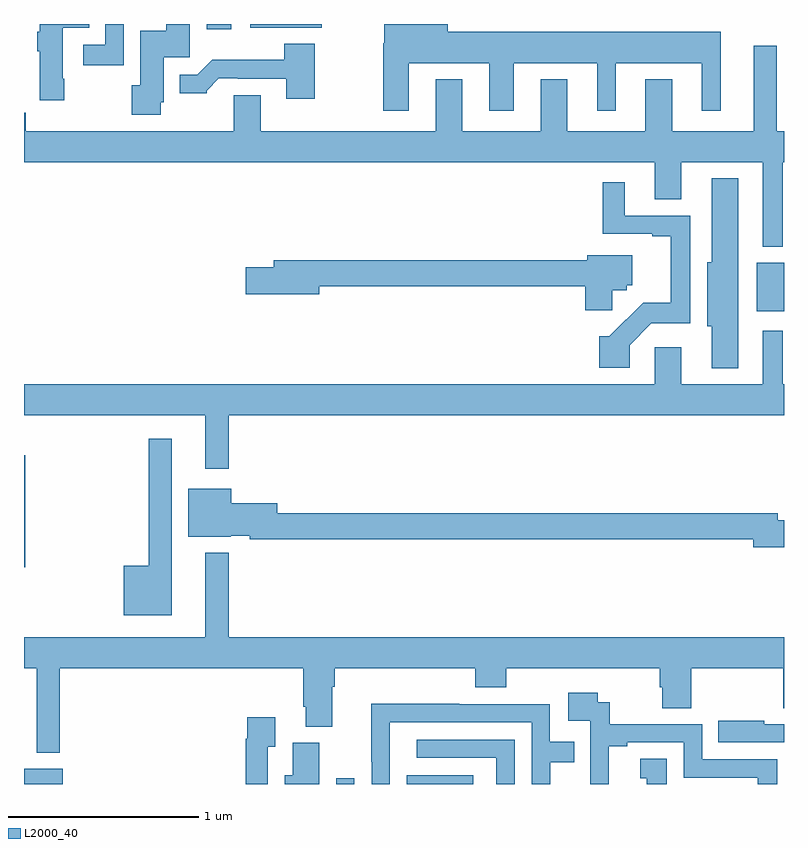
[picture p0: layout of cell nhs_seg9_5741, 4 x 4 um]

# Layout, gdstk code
import gdstk
lib = gdstk.Library(unit=1e-6, precision=1e-09)
def R(c, l, rs):  # rectangles x0, y0, x1, y1
    for r in rs: c.add(gdstk.rectangle(r[:2], r[2:], *l))
def P(c, l, *ps):  # polygons
    for p in ps: c.add(gdstk.Polygon(p, *l))
L2000_40 = (2000, 40)

nhs_seg9_5741 = lib.new_cell('nhs_seg9_5741')
R(nhs_seg9_5741, L2000_40, [(445,1174.5,445.204,1174.579), (446.643,1174.5,446.739,1174.531), (447.014,1174.5,447.364,1174.546), (445,1175.641,445.007,1176.229), (448.856,1176.989,449,1177.243), (445.961,1178.472,446.092,1178.5), (446.192,1178.48,446.566,1178.5)])
P(nhs_seg9_5741, L2000_40, [(445.524,1178.5),(445.428,1178.5),(445.428,1178.391),(445.311,1178.391),(445.311,1178.283),(445.524,1178.283)],
  [(447.025,1178.294),(447.449,1178.294),(447.449,1178.043),(447.577,1178.043),(447.577,1178.294),(448.016,1178.294),(448.016,1178.043),(448.114,1178.043),(448.114,1178.294),(448.568,1178.294),(448.568,1178.043),(448.666,1178.043),(448.666,1178.458),(447.229,1178.458),(447.229,1178.5),(446.897,1178.5),(446.897,1178.398),(446.89,1178.398),(446.89,1178.043),(447.025,1178.043)],
  [(445.719,1178.088),(445.735,1178.088),(445.735,1178.325),(445.873,1178.325),(445.873,1178.5),(445.748,1178.5),(445.748,1178.464),(445.613,1178.464),(445.613,1178.178),(445.567,1178.178),(445.567,1178.022),(445.719,1178.022)],
  [(445.212,1178.212),(445.204,1178.212),(445.204,1178.48),(445.343,1178.48),(445.343,1178.5),(445.082,1178.5),(445.082,1178.459),(445.07,1178.459),(445.07,1178.356),(445.082,1178.356),(445.082,1178.1),(445.212,1178.1)],
  [(446.529,1178.395),(446.369,1178.395),(446.369,1178.311),(445.99,1178.311),(445.911,1178.232),(445.82,1178.232),(445.82,1178.135),(445.962,1178.135),(445.962,1178.15),(446.026,1178.214),(446.125,1178.214),(446.125,1178.211),(446.381,1178.211),(446.381,1178.106),(446.529,1178.106)],
  [(448.993,1177.772),(449,1177.772),(449,1177.936),(448.963,1177.936),(448.963,1178.386),(448.841,1178.386),(448.841,1177.936),(448.411,1177.936),(448.411,1178.209),(448.271,1178.209),(448.271,1177.936),(447.859,1177.936),(447.859,1178.209),(447.719,1178.209),(447.719,1177.936),(447.307,1177.936),(447.307,1178.209),(447.167,1178.209),(447.167,1177.936),(446.245,1177.936),(446.245,1178.126),(446.105,1178.126),(446.105,1177.936),(445.01,1177.936),(445.01,1178.032),(445,1178.032),(445,1177.772),(448.319,1177.772),(448.319,1177.578),(448.459,1177.578),(448.459,1177.772),(448.889,1177.772),(448.889,1177.328),(448.993,1177.328)],
  [(448.759,1177.687),(448.619,1177.687),(448.619,1177.245),(448.595,1177.245),(448.595,1176.909),(448.619,1176.909),(448.619,1176.689),(448.759,1176.689)],
  [(448.188,1176.81),(448.302,1176.924),(448.507,1176.924),(448.507,1177.491),(448.162,1177.491),(448.162,1177.666),(448.045,1177.666),(448.045,1177.395),(448.307,1177.395),(448.307,1177.383),(448.403,1177.383),(448.403,1177.034),(448.259,1177.034),(448.081,1176.856),(448.028,1176.856),(448.028,1176.69),(448.188,1176.69)],
  [(448.097,1177.098),(448.173,1177.098),(448.173,1177.125),(448.201,1177.125),(448.201,1177.282),(447.965,1177.282),(447.965,1177.256),(446.315,1177.256),(446.315,1177.22),(446.166,1177.22),(446.166,1177.078),(446.554,1177.078),(446.554,1177.12),(447.953,1177.12),(447.953,1176.993),(448.097,1176.993)],
  [(446.077,1176.44),(449,1176.44),(449,1176.604),(448.993,1176.604),(448.993,1176.886),(448.889,1176.886),(448.889,1176.604),(448.459,1176.604),(448.459,1176.799),(448.32,1176.799),(448.32,1176.604),(445,1176.604),(445,1176.44),(445.955,1176.44),(445.955,1176.159),(446.077,1176.159)],
  [(445.777,1176.316),(445.656,1176.316),(445.656,1175.65),(445.526,1175.65),(445.526,1175.387),(445.777,1175.387)],
  [(449,1175.888),(448.966,1175.888),(448.966,1175.924),(446.332,1175.924),(446.332,1175.977),(446.092,1175.977),(446.092,1176.055),(445.865,1176.055),(445.865,1175.801),(446.088,1175.801),(446.088,1175.807),(446.188,1175.807),(446.188,1175.788),(448.838,1175.788),(448.838,1175.746),(449,1175.746)],
  [(445.189,1175.108),(446.471,1175.108),(446.471,1174.906),(446.483,1174.906),(446.483,1174.801),(446.623,1174.801),(446.623,1175.012),(446.636,1175.012),(446.636,1175.108),(447.374,1175.108),(447.374,1175.009),(447.539,1175.009),(447.539,1175.108),(448.346,1175.108),(448.346,1175.01),(448.358,1175.01),(448.358,1174.9),(448.511,1174.9),(448.511,1175.108),(448.997,1175.108),(448.997,1174.9),(449,1174.9),(449,1175.272),(446.077,1175.272),(446.077,1175.716),(445.955,1175.716),(445.955,1175.272),(445,1175.272),(445,1175.108),(445.067,1175.108),(445.067,1174.664),(445.189,1174.664)],
  [(448.078,1174.699),(448.174,1174.699),(448.174,1174.719),(448.473,1174.719),(448.473,1174.533),(448.863,1174.533),(448.863,1174.5),(448.964,1174.5),(448.964,1174.629),(448.569,1174.629),(448.569,1174.815),(448.082,1174.815),(448.082,1174.929),(448.02,1174.929),(448.02,1174.981),(447.864,1174.981),(447.864,1174.833),(447.981,1174.833),(447.981,1174.529),(447.98,1174.529),(447.98,1174.5),(448.078,1174.5)],
  [(446.925,1174.824),(447.672,1174.824),(447.672,1174.5),(447.769,1174.5),(447.769,1174.614),(447.896,1174.614),(447.896,1174.722),(447.768,1174.722),(447.768,1174.92),(447.29,1174.92),(447.29,1174.922),(446.828,1174.922),(446.828,1174.618),(446.829,1174.618),(446.829,1174.5),(446.925,1174.5)],
  [(446.283,1174.696),(446.323,1174.696),(446.323,1174.852),(446.175,1174.852),(446.175,1174.739),(446.167,1174.739),(446.167,1174.5),(446.283,1174.5)],
  [(449,1174.815),(448.897,1174.815),(448.897,1174.834),(448.654,1174.834),(448.654,1174.719),(449,1174.719)],
  [(447.582,1174.734),(447.066,1174.734),(447.066,1174.638),(447.486,1174.638),(447.486,1174.5),(447.582,1174.5)],
  [(446.554,1174.716),(446.414,1174.716),(446.414,1174.546),(446.372,1174.546),(446.372,1174.5),(446.554,1174.5)],
  [(448.384,1174.634),(448.244,1174.634),(448.244,1174.531),(448.277,1174.531),(448.277,1174.5),(448.384,1174.5)])

lib.write_gds('nhs_seg9_5741.gds')
